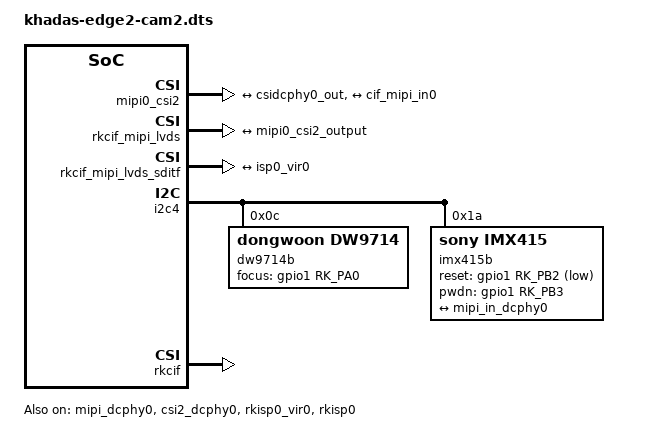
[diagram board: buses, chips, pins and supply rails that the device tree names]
/dts-v1/;
/plugin/;

#include <dt-bindings/clock/rk3588-cru.h>
#include <dt-bindings/power/rk3588-power.h>
#include <dt-bindings/gpio/gpio.h>
#include <dt-bindings/pinctrl/rockchip.h>

/ {
	fragment@0 {
		target = <&mipi_dcphy0>;

		__overlay__ {
			status = "okay";
		};
	};

	fragment@1 {
		target = <&csi2_dcphy0>;

		__overlay__ {
			status = "okay";

			ports {
				#address-cells = <1>;
				#size-cells = <0>;
				
				port@0 {
					reg = <0>;
					#address-cells = <1>;
					#size-cells = <0>;
		
					mipi_in_dcphy0: endpoint@1 {
						reg = <1>;
						remote-endpoint = <&imx415b_out0>;
						data-lanes = <1 2 3 4>;
					};
				};

				port@1 {
					reg = <1>;
					#address-cells = <1>;
					#size-cells = <0>;
		
					csidcphy0_out: endpoint@0 {
						reg = <0>;
						remote-endpoint = <&mipi0_csi2_input>;
					};
				};
			};		
		};
	};

	fragment@2 {
		target = <&mipi0_csi2>;

		__overlay__ {
			status = "okay";

			ports {
				#address-cells = <1>;
				#size-cells = <0>;
		
				port@0 {
					reg = <0>;
					#address-cells = <1>;
					#size-cells = <0>;
		
					mipi0_csi2_input: endpoint@1 {
						reg = <1>;
						remote-endpoint = <&csidcphy0_out>;
					};
				};
		
				port@1 {
					reg = <1>;
					#address-cells = <1>;
					#size-cells = <0>;
		
					mipi0_csi2_output: endpoint@0 {
						reg = <0>;
						remote-endpoint = <&cif_mipi_in0>;
					};
				};
			};		
		};
	};

	fragment@3 {
		target = <&rkcif_mipi_lvds>;

		__overlay__ {
			status = "okay";

			port {
				cif_mipi_in0: endpoint {
					remote-endpoint = <&mipi0_csi2_output>;
				};
			};
		};
	};

	fragment@4 {
		target = <&rkcif_mipi_lvds_sditf>;

		__overlay__ {
			status = "okay";

			port {
				mipi_lvds_sditf: endpoint {
					remote-endpoint = <&isp0_vir0>;
				};
			};		
		};
	};

	fragment@5 {
		target = <&rkisp0_vir0>;

		__overlay__ {
			status = "okay";

			port {
				#address-cells = <1>;
				#size-cells = <0>;
		
				isp0_vir0: endpoint@0 {
					reg = <0>;
					remote-endpoint = <&mipi_lvds_sditf>;
				};
			};			
		};
	};

	fragment@6 {
		target = <&i2c4>;

		__overlay__ {
			status = "okay";
			pinctrl-names = "default";
			pinctrl-0 = <&i2c4m3_xfer>;
		
			dw9714b: dw9714b@c {
				compatible = "dongwoon,dw9714";
				status = "okay";
				reg = <0x0c>;
				pinctrl-names = "focusb_gpios";
				pinctrl-0 = <&focusb_gpio>;
				focus-gpios = <&gpio1 RK_PA0 GPIO_ACTIVE_HIGH>;
				rockchip,vcm-start-current = <20>;
				rockchip,vcm-rated-current = <76>;
				rockchip,vcm-step-mode = <0>;
				rockchip,camera-module-index = <0>;
				rockchip,camera-module-facing = "back";
			};
		
			imx415b: imx415b@1a {
				compatible = "sony,imx415";
				status = "okay";
				reg = <0x1a>;
				clocks = <&cru CLK_MIPI_CAMARAOUT_M1>;
				clock-names = "xvclk";
				power-domains = <&power RK3588_PD_VI>;
				pinctrl-names = "default", "camb_gpios";
				pinctrl-0 = <&mipim1_camera1_clk>, <&camb_gpio>;
				rockchip,grf = <&sys_grf>;
				reset-gpios = <&gpio1 RK_PB2 GPIO_ACTIVE_LOW>;
				pwdn-gpios = <&gpio1 RK_PB3 GPIO_ACTIVE_HIGH>;
				rockchip,camera-module-index = <0>;
				rockchip,camera-module-facing = "back";
				rockchip,camera-module-name = "CMK-OT2022-PX1";
				rockchip,camera-module-lens-name = "IR0147-50IRC-8M-F20";
				lens-focus = <&dw9714b>;
				port {
					imx415b_out0: endpoint {
						remote-endpoint = <&mipi_in_dcphy0>;
						data-lanes = <1 2 3 4>;
					};
				};
			};		
		};
	};

	fragment@7 {
		target = <&pinctrl>;

		__overlay__ {
			cam2 {
				camb_gpio: camb-gpio {
					rockchip,pins =
						<1 RK_PB2 RK_FUNC_GPIO &pcfg_pull_none>,
						<1 RK_PB3 RK_FUNC_GPIO &pcfg_pull_none>;
				};

				focusb_gpio: focusb-gpio {
					rockchip,pins =
						<1 RK_PA0 RK_FUNC_GPIO &pcfg_pull_none>;
				};
			};
		};
	};

	fragment@8 {
		target = <&rkcif>;

		__overlay__ {
			status = "okay";
		};
	};

	fragment@9 {
		target = <&rkcif_mmu>;

		__overlay__ {
			status = "okay";
		};
	};

	fragment@10 {
		target = <&rkisp0>;

		__overlay__ {
			status = "okay";
		};
	};

	fragment@11 {
		target = <&isp0_mmu>;

		__overlay__ {
			status = "okay";
		};
	};
};
